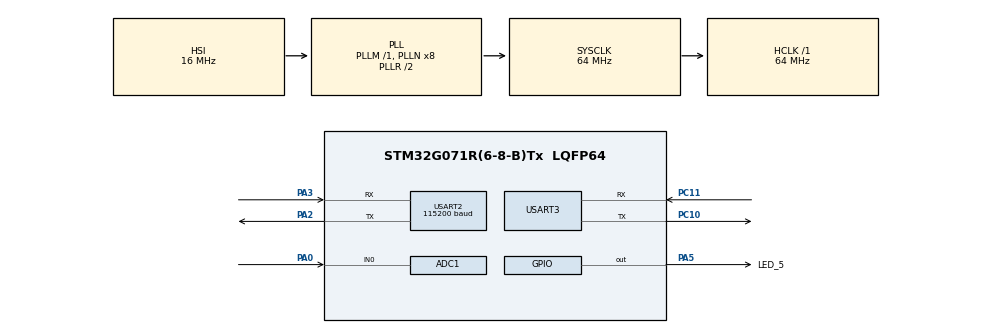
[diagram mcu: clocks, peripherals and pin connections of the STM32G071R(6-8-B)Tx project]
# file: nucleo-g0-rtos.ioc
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ADC1.Channel-0\#ChannelRegularConversion=ADC_CHANNEL_0
ADC1.ContinuousConvMode=ENABLE
ADC1.DiscontinuousConvMode=DISABLE
ADC1.NbrOfConversionFlag=1
ADC1.Rank-0\#ChannelRegularConversion=1
ADC1.SamplingTime-0\#ChannelRegularConversion=ADC_SAMPLINGTIME_COMMON_1
ADC1.SamplingTimeCommon1=ADC_SAMPLETIME_79CYCLES_5
ADC1.master=1
FREERTOS.INCLUDE_vTaskDelayUntil=1
FREERTOS.Tasks01=defaultTask,0,128,StartDefaultTask,Default,NULL,Dynamic,NULL,NULL;stackTask,0,400,stackApplication,As external,NULL,Dynamic,NULL,NULL;dataTask,3,256,dataApplication,As external,NULL,Dynamic,NULL,NULL;logTask,-2,256,logApplication,As external,NULL,Dynamic,NULL,NULL
FREERTOS.configTICK_RATE_HZ=1000
FREERTOS.configTOTAL_HEAP_SIZE=12000
Mcu.Family=STM32G0
Mcu.Name=STM32G071R(6-8-B)Tx
Mcu.Package=LQFP64
NVIC.ADC1_COMP_IRQn=true\:3\:0\:false\:false\:true\:true\:true\:true
NVIC.TIM1_BRK_UP_TRG_COM_IRQn=true\:0\:0\:false\:false\:true\:false\:false\:true
NVIC.TimeBase=TIM1_BRK_UP_TRG_COM_IRQn
NVIC.TimeBaseIP=TIM1
NVIC.USART2_IRQn=true\:3\:0\:false\:false\:true\:true\:true\:true
PA0.Mode=IN0
PA0.Signal=ADC1_IN0
PA2.GPIO_PuPd=GPIO_PULLUP
PA2.Mode=Asynchronous
PA2.Signal=USART2_TX
PA3.GPIO_PuPd=GPIO_PULLUP
PA3.Mode=Asynchronous
PA3.Signal=USART2_RX
PA5.GPIO_Label=LED_5
PA5.Signal=GPIO_Output
PC10.Mode=Asynchronous
PC10.Signal=USART3_TX
PC11.Mode=Asynchronous
PC11.Signal=USART3_RX
ProjectManager.HeapSize=0x4500
ProjectManager.StackSize=0x1000
ProjectManager.TargetToolchain=STM32CubeIDE
RCC.ADCFreq_Value=64000000
RCC.AHBFreq_Value=64000000
RCC.CortexFreq_Value=64000000
RCC.EXTERNAL_CLOCK_VALUE=48000
RCC.HCLKFreq_Value=64000000
RCC.HSE_VALUE=8000000
RCC.HSI_VALUE=16000000
RCC.LSE_VALUE=32768
RCC.PLLP=RCC_PLLP_DIV10
RCC.PLLQ=RCC_PLLQ_DIV5
RCC.SYSCLKFreq_VALUE=64000000
RCC.SYSCLKSource=RCC_SYSCLKSOURCE_PLLCLK
RCC.VCOOutputFreq_Value=128000000
USART2.BaudRate=115200
USART2.Parity=PARITY_NONE
USART2.VirtualMode-Asynchronous=VM_ASYNC
USART2.WordLength=WORDLENGTH_8B
USART3.VirtualMode-Asynchronous=VM_ASYNC
VP_FREERTOS_VS_CMSIS_V1.Mode=CMSIS_V1
VP_SYS_VS_DBSignals.Mode=DisableDeadBatterySignals
VP_SYS_VS_tim1.Mode=TIM1
board=custom

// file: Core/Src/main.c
/* USER CODE BEGIN Header */
/**
  ******************************************************************************
  * @file           : main.c
  * @brief          : Main program body
  ******************************************************************************
  * @attention
  *
  * <h2><center>&copy; Copyright (c) 2020 STMicroelectronics.
  * All rights reserved.</center></h2>
  *
  * This software component is licensed by ST under Ultimate Liberty license
  * SLA0044, the "License"; You may not use this file except in compliance with
  * the License. You may obtain a copy of the License at:
  *                             www.st.com/SLA0044
  *
  ******************************************************************************
  */
/* USER CODE END Header */

#include "main.h"
#include "cmsis_os.h"
#include "adc.h"
#include "usart.h"
#include "gpio.h"

/* USER CODE BEGIN Includes */
#include "UartDriver.h"
#include "RtosMutex.h"
#include "RtosApplication.h"

#include "Scope/Builders/ScopeFramedStack.h"
#include "se-lib-c/stream/BufferedByteStream.h"
#include "se-lib-c/stream/ThreadSafeByteStream.h"

/* USER CODE END Includes */

void SystemClock_Config(void);
void MX_FREERTOS_Init(void);
/* USER CODE BEGIN PFP */

int __io_putchar(int ch)
{
    HAL_UART_Transmit(&huart3, (uint8_t *)&ch, 1, 0xFFFF);
    return ch;
}

/* USER CODE END PFP */

/* USER CODE BEGIN 0 */

// global timestamp
uint32_t timestamp = 0;

// scope variables
const float frequency = 10.0f;
float sinus = 0.0f;
float cosinus = 0.0f;
float leistung = 0.0f;
float sum = 0.0f;
int flipflop = -1;
uint8_t toggle = 0;

// global instances TODO passs to thread/task
ScopeFramedStackHandle scopeStack;
IByteStreamHandle logger;

/* USER CODE END 0 */

int main(void)
{
    /* USER CODE BEGIN 1 */
    /* STM32G0xx HAL library initialization:
       - Configure the Flash prefetch
       - Systick timer is configured by default as source of time base, but user
         can eventually implement his proper time base source (a general purpose
         timer for example or other time source), keeping in mind that Time base
         duration should be kept 1ms since PPP_TIMEOUT_VALUEs are defined and
         handled in milliseconds basis.
       - Low Level Initialization
    */
    /* USER CODE END 1 */

    /* MCU Configuration--------------------------------------------------------*/

    /* Reset of all peripherals, Initializes the Flash interface and the Systick. */
    HAL_Init();

    /* Configure the system clock */
    SystemClock_Config();

    /* Initialize all configured peripherals */
    MX_GPIO_Init();
    MX_USART2_UART_Init();
    MX_ADC1_Init();
    MX_USART3_UART_Init();
    /* USER CODE BEGIN 2 */

    // scope configuratio
    ScopeFramedStackConfig config = {
	  .addressesInAddressAnnouncer = 6,
	  .callback = &transmit_data,
	  .timestamp = &timestamp,
	  .amountOfChannels = 3,
	  .timebase = 0.001f,
	  .sizeOfChannels = 50
	};

    // Stack mutexes
	RtosMutexHandle dataMutex = RtosMutex_create();
	RtosMutexHandle configMutex = RtosMutex_create();
	RtosMutexHandle loggergMutex = RtosMutex_create();

	ScopeFramedStackMutex mutexes = {
	  .configMutex = RtosMutex_getIMutex(configMutex),
	  .dataMutex = RtosMutex_getIMutex(dataMutex),
	  .logBufferMutex = RtosMutex_getIMutex(loggergMutex)
	};

	/* Create the Logger and Buffer for the logger */
	RtosMutexHandle bufferMutex = RtosMutex_create();
	BufferedByteStreamHandle stream = BufferedByteStream_create(512);
	ThreadSafeByteStreamHandle bufferedStream = ThreadSafeByteStream_create(RtosMutex_getIMutex(bufferMutex), BufferedByteStream_getIByteStream(stream));
	logger = ThreadSafeByteStream_getIByteStream(bufferedStream);

	ScopeFramedStackLogOptions scopeLogOptions = {
	  .logByteStream = logger
	};

	// Priorities
	Message_Priorities msgPrios = {
		.data = MEDIUM,
		.log = MEDIUM,
		.stream = MEDIUM
	};

	// Scope instantiation
	scopeStack = ScopeFramedStack_createThreadSafe(config, mutexes, scopeLogOptions, msgPrios);

	UartDriver_init();

	// Variable announcement
	AnnounceStorageHandle addressStorage = ScopeFramedStack_getAnnounceStorage(scopeStack);
	AnnounceStorage_addAnnounceAddress(addressStorage, "sinus", &sinus, SE_FLOAT);
	AnnounceStorage_addAnnounceAddress(addressStorage, "cosinus", &cosinus, SE_FLOAT);
	AnnounceStorage_addAnnounceAddress(addressStorage, "leistung", &leistung, SE_FLOAT);
	AnnounceStorage_addAnnounceAddress(addressStorage, "sum", &sum, SE_FLOAT);
	AnnounceStorage_addAnnounceAddress(addressStorage, "flipflop", &flipflop, SE_INT8);
	AnnounceStorage_addAnnounceAddress(addressStorage, "10s Pulse", &toggle, SE_UINT8);

  /* USER CODE END 2 */

  /* Call init function for freertos objects (in freertos.c) */
  MX_FREERTOS_Init();
  /* Start scheduler */
  osKernelStart();

  /* We should never get here as control is now taken by the scheduler */
  /* Infinite loop */
  while (1)
  {

  }
}

void SystemClock_Config(void)
{
  RCC_OscInitTypeDef RCC_OscInitStruct = {0};
  RCC_ClkInitTypeDef RCC_ClkInitStruct = {0};
  RCC_PeriphCLKInitTypeDef PeriphClkInit = {0};

  /** Configure the main internal regulator output voltage
  */
  HAL_PWREx_ControlVoltageScaling(PWR_REGULATOR_VOLTAGE_SCALE1);
  /** Initializes the CPU, AHB and APB busses clocks
  */
  RCC_OscInitStruct.OscillatorType = RCC_OSCILLATORTYPE_HSI;
  RCC_OscInitStruct.HSIState = RCC_HSI_ON;
  RCC_OscInitStruct.HSIDiv = RCC_HSI_DIV1;
  RCC_OscInitStruct.HSICalibrationValue = RCC_HSICALIBRATION_DEFAULT;
  RCC_OscInitStruct.PLL.PLLState = RCC_PLL_ON;
  RCC_OscInitStruct.PLL.PLLSource = RCC_PLLSOURCE_HSI;
  RCC_OscInitStruct.PLL.PLLM = RCC_PLLM_DIV1;
  RCC_OscInitStruct.PLL.PLLN = 8;
  RCC_OscInitStruct.PLL.PLLP = RCC_PLLP_DIV10;
  RCC_OscInitStruct.PLL.PLLQ = RCC_PLLQ_DIV5;
  RCC_OscInitStruct.PLL.PLLR = RCC_PLLR_DIV2;
  if (HAL_RCC_OscConfig(&RCC_OscInitStruct) != HAL_OK)
  {
    Error_Handler();
  }
  /** Initializes the CPU, AHB and APB busses clocks
  */
  RCC_ClkInitStruct.ClockType = RCC_CLOCKTYPE_HCLK|RCC_CLOCKTYPE_SYSCLK
                              |RCC_CLOCKTYPE_PCLK1;
  RCC_ClkInitStruct.SYSCLKSource = RCC_SYSCLKSOURCE_PLLCLK;
  RCC_ClkInitStruct.AHBCLKDivider = RCC_SYSCLK_DIV1;
  RCC_ClkInitStruct.APB1CLKDivider = RCC_HCLK_DIV1;

  if (HAL_RCC_ClockConfig(&RCC_ClkInitStruct, FLASH_LATENCY_2) != HAL_OK)
  {
    Error_Handler();
  }
  /** Initializes the peripherals clocks
  */
  PeriphClkInit.PeriphClockSelection = RCC_PERIPHCLK_USART2|RCC_PERIPHCLK_ADC;
  PeriphClkInit.Usart2ClockSelection = RCC_USART2CLKSOURCE_PCLK1;
  PeriphClkInit.AdcClockSelection = RCC_ADCCLKSOURCE_SYSCLK;
  if (HAL_RCCEx_PeriphCLKConfig(&PeriphClkInit) != HAL_OK)
  {
    Error_Handler();
  }
}

 /**
  * @brief  Period elapsed callback in non blocking mode
  * @note   This function is called  when TIM1 interrupt took place, inside
  * HAL_TIM_IRQHandler(). It makes a direct call to HAL_IncTick() to increment
  * a global variable "uwTick" used as application time base.
  * @param  htim : TIM handle
  * @retval None
  */
void HAL_TIM_PeriodElapsedCallback(TIM_HandleTypeDef *htim)
{
  if (htim->Instance == TIM1) {
      HAL_IncTick();
  }
}

void Error_Handler(void)
{
  /* USER CODE BEGIN Error_Handler_Debug */
  /* User can add his own implementation to report the HAL error return state */
/* Turn LED4 to off for error */
    while (1) {
    	HAL_GPIO_WritePin(GPIOA, GPIO_PIN_5, GPIO_PIN_RESET);
    }

  /* USER CODE END Error_Handler_Debug */
}

/************************ (C) COPYRIGHT STMicroelectronics *****END OF FILE****/

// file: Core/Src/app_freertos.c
/* USER CODE BEGIN Header */
/**
  ******************************************************************************
  * File Name          : app_freertos.c
  * Description        : Code for freertos applications
  ******************************************************************************
  * @attention
  *
  * <h2><center>&copy; Copyright (c) 2020 STMicroelectronics.
  * All rights reserved.</center></h2>
  *
  * This software component is licensed by ST under Ultimate Liberty license
  * SLA0044, the "License"; You may not use this file except in compliance with
  * the License. You may obtain a copy of the License at:
  *                             www.st.com/SLA0044
  *
  ******************************************************************************
  */
/* USER CODE END Header */

#include "FreeRTOS.h"
#include "task.h"
#include "main.h"
#include "cmsis_os.h"

osThreadId defaultTaskHandle;
osThreadId stackTaskHandle;
osThreadId dataTaskHandle;
osThreadId logTaskHandle;

void StartDefaultTask(void const * argument);
extern void stackApplication(void const * argument);
extern void dataApplication(void const * argument);
extern void logApplication(void const * argument);

void MX_FREERTOS_Init(void); /* (MISRA C 2004 rule 8.1) */

void MX_FREERTOS_Init(void) {

  /* Create the thread(s) */
  /* definition and creation of defaultTask */
  osThreadDef(defaultTask, StartDefaultTask, osPriorityNormal, 0, 128);
  defaultTaskHandle = osThreadCreate(osThread(defaultTask), NULL);

  /* definition and creation of stackTask */
  osThreadDef(stackTask, stackApplication, osPriorityNormal, 0, 400);
  stackTaskHandle = osThreadCreate(osThread(stackTask), NULL);

  /* definition and creation of dataTask */
  osThreadDef(dataTask, dataApplication, osPriorityRealtime, 0, 256);
  dataTaskHandle = osThreadCreate(osThread(dataTask), NULL);

  /* definition and creation of logTask */
  osThreadDef(logTask, logApplication, osPriorityLow, 0, 256);
  logTaskHandle = osThreadCreate(osThread(logTask), NULL);

}

void StartDefaultTask(void const * argument)
{
  for(;;)
  {
    osDelay(1);
  }
}

/************************ (C) COPYRIGHT STMicroelectronics *****END OF FILE****/
